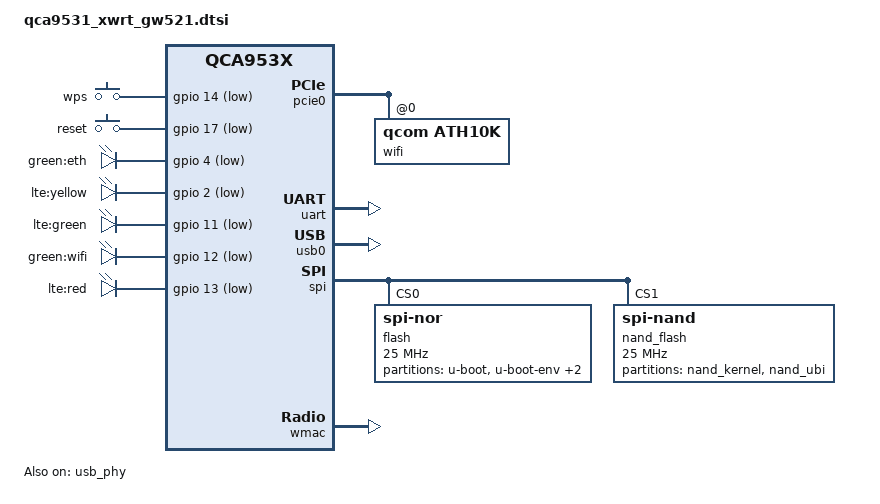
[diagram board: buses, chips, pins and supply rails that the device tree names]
// SPDX-License-Identifier: GPL-2.0-or-later OR MIT
/dts-v1/;

#include <dt-bindings/gpio/gpio.h>
#include <dt-bindings/input/input.h>

#include "qca953x.dtsi"

/ {
	keys {
		compatible = "gpio-keys";

		pinctrl-names = "default";

		wps {
			label = "wps";
			linux,code = <KEY_WPS_BUTTON>;
			gpios = <&gpio 14 GPIO_ACTIVE_LOW>;
			debounce-interval = <60>;
		};

		reset {
			label = "reset";
			linux,code = <KEY_RESTART>;
			gpios = <&gpio 17 GPIO_ACTIVE_LOW>;
		};
	};

	leds {
		compatible = "gpio-leds";
		pinctrl-names = "default";
		pinctrl-0 = <&jtag_disable_pins &led_lte_green_pin &led_wifi_pin &led_lte_red_pin>;

		eth {
			label = "green:eth";
			gpios = <&gpio 4 GPIO_ACTIVE_LOW>;
		};

		lte_yellow {
			label = "lte:yellow";
			gpios = <&gpio 2 GPIO_ACTIVE_LOW>;
		};

		lte_green {
			label = "lte:green";
			gpios = <&gpio 11 GPIO_ACTIVE_LOW>;
		};

		wifi {
			label = "green:wifi";
			gpios = <&gpio 12 GPIO_ACTIVE_LOW>;
		};

		lte_red {
			label = "lte:red";
			gpios = <&gpio 13 GPIO_ACTIVE_LOW>;
		};
	};
};

&pinmux {
	led_lte_green_pin: pinmux_lte_green_pin {
		pinctrl-single,bits = <0x8 0x0 0xff000000>;
	};

	led_wifi_pin: pinmux_wifi_pin {
		pinctrl-single,bits = <0xc 0x0 0x00ff0000>;
	};

	led_lte_red_pin: pinmux_lte_red_pin {
		pinctrl-single,bits = <0x10 0x0 0x000000ff>;
	};
};

&pcie0 {
	status = "okay";

	wifi@0,0 {
		compatible = "qcom,ath10k";
		reg = <0 0 0 0 0>;
		device_type = "pci";
	};
};

&uart {
	status = "okay";
};

&usb0 {
	#address-cells = <1>;
	#size-cells = <0>;
	status = "okay";

	hub_port: port@1 {
		reg = <1>;
		#trigger-source-cells = <0>;
	};
};

&usb_phy {
	status = "okay";
};

&spi {
	status = "okay";

	num-cs = <2>;
	cs-gpios = <0>, <0>;

	flash@0 {
		compatible = "jedec,spi-nor";
		reg = <0>;
		spi-max-frequency = <25000000>;

		partitions {
			compatible = "fixed-partitions";
			#address-cells = <1>;
			#size-cells = <1>;

			partition@0 {
				label = "u-boot";
				reg = <0x000000 0x040000>;
				read-only;
			};

			partition@40000 {
				label = "u-boot-env";
				reg = <0x040000 0x010000>;
				read-only;
			};

			nor_firmware: partition@50000 {
				label = "nor_firmware";
				reg = <0x050000 0xfa0000>;
			};

			art: partition@ff0000 {
				label = "art";
				reg = <0xff0000 0x010000>;
			};
		};
	};

	nand_flash: flash@1 {
		compatible = "spi-nand";
		reg = <1>;
		spi-max-frequency = <25000000>;

		partitions {
			compatible = "fixed-partitions";
			#address-cells = <1>;
			#size-cells = <1>;

			nand_kernel: partition@0 {
				label = "nand_kernel";
				reg = <0x000000 0x0400000>;
			};

			nand_ubi: partition@200000 {
				label = "nand_ubi";
				reg = <0x400000 0x7c00000>;
			};
		};
	};
};

&eth0 {
	status = "disabled";
};

/* eth1 is 'eth0' on system */
&eth1 {
	mtd-mac-address = <&art 0x0>;
	nvmem-cells = <&macaddr_art_0>;
	nvmem-cell-names = "mac-address";
};

&wmac {
	status = "okay";
	mtd-cal-data = <&art 0x1000>;
};

&art {
	compatible = "nvmem-cells";
	#address-cells = <1>;
	#size-cells = <1>;

	macaddr_art_0: macaddr@0 {
		reg = <0x0 0x6>;
	};
};
